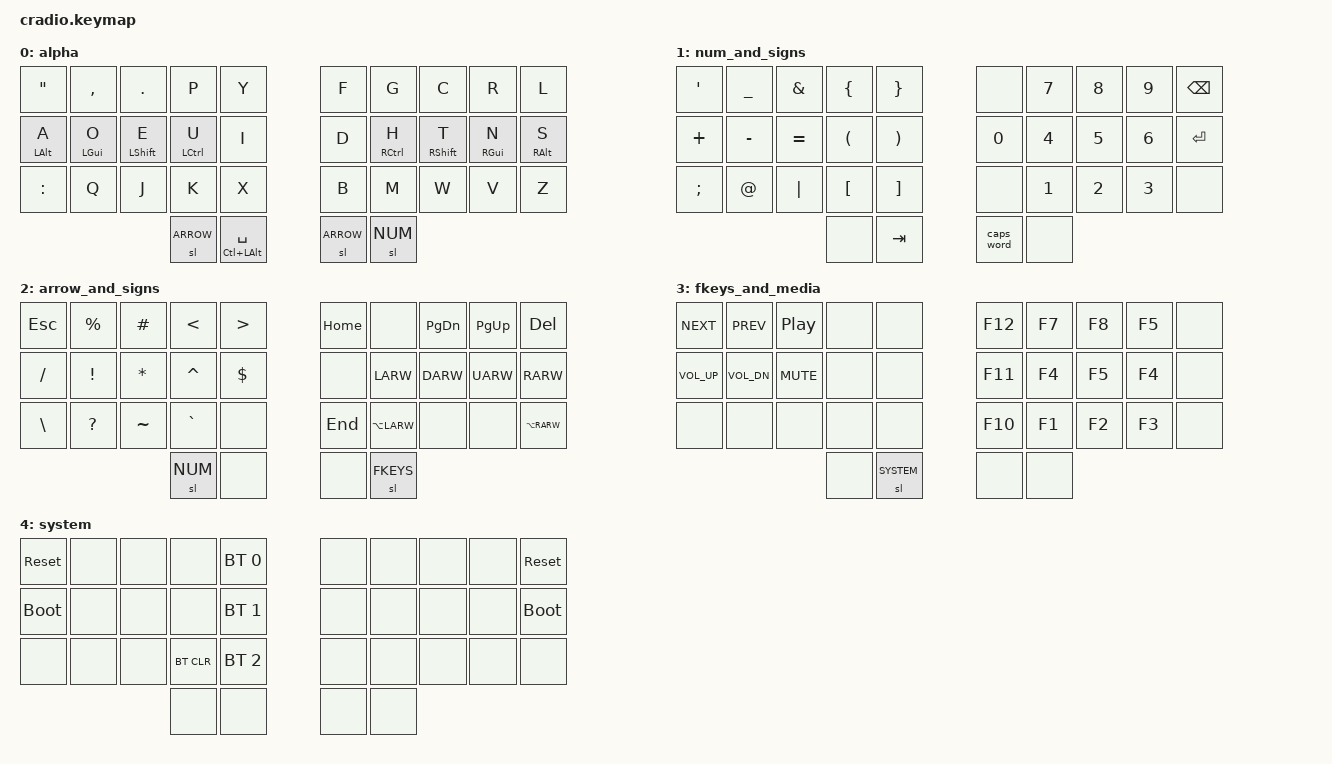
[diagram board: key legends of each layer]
#include <behaviors.dtsi>
#include <dt-bindings/zmk/keys.h>
#include <dt-bindings/zmk/bt.h>

#define ALPHA   0
#define NUM     1
#define ARROW   2
#define FKEYS   3 
#define SYSTEM  4 

&mt {
    // We use this for the MEH-key only.
    // Higher timeouts are required to prevent misfiring.
    tapping-term-ms = <230>;
    quick_tap_ms = <180>;
    global-quick-tap;
    flavor = "tap-preferred";
};

&sl {
    release-after-ms = <200>;
};

/ {
    behaviors {
        lm: home_row_left {
            compatible = "zmk,behavior-hold-tap";
            label = "home_row_left";
            #binding-cells = <2>;
            tapping-term-ms = <220>;
            quick_tap_ms = <180>;
            flavor = "balanced";
            bindings = <&kp>, <&kp>;
            hold-trigger-key-positions = <5 6 7 8 9 15 16 17 18 19 25 26 27 28 29 32 33>;
        };
        rm: home_row_right {
            compatible = "zmk,behavior-hold-tap";
            label = "home_row_right";
            #binding-cells = <2>;
            tapping-term-ms = <220>;
            quick_tap_ms = <180>;
            flavor = "balanced";
            bindings = <&kp>, <&kp>;
            hold-trigger-key-positions = <0 1 2 3 4 10 11 12 13 14 20 21 22 23 24 30 31>;
        };
    };

    keymap {
        compatible = "zmk,keymap";

        alpha {
        bindings = <

        &kp DQT       &kp COMMA   &kp DOT       &kp P        &kp Y      &kp F  &kp G        &kp C         &kp R       &kp L
        &lm LALT A    &lm LGUI O  &lm LSHIFT E  &lm LCTRL U  &kp I      &kp D  &rm RCTRL H  &rm RSHIFT T  &rm RGUI N  &rm RALT S 
        &kp COLON     &kp Q       &kp J         &kp K        &kp X      &kp B  &kp M        &kp W         &kp V       &kp Z

                                 &sl ARROW  &mt LC(LALT)     SPACE      &sl ARROW  &sl NUM

        >;
        };

        num_and_signs {
        bindings = <

        &kp SQT   &kp UNDER  &kp AMPS   &kp LBRC  &kp RBRC     &none   &kp N7  &kp N8  &kp N9  &kp BKSP
        &kp PLUS  &kp MINUS  &kp EQUAL  &kp LPAR  &kp RPAR     &kp N0  &kp N4  &kp N5  &kp N6  &kp ENTER
        &kp SEMI  &kp AT     &kp PIPE   &kp LBKT  &kp RBKT     &none   &kp N1  &kp N2  &kp N3  &none

                                            &none  &kp TAB     &caps_word  &none
        >;
        };

        arrow_and_signs {
        bindings = <

        &kp ESC    &kp PRCNT  &kp HASH   &kp LT     &kp GT       &kp HOME  &none         &kp PG_DN  &kp PG_UP  &kp DEL
        &kp SLASH  &kp EXCL   &kp ASTRK  &kp CARET  &kp DLLR     &none     &kp LARW      &kp DARW   &kp UARW   &kp RARW  
        &kp BSLH   &kp QMARK  &kp TILDE  &kp GRAVE  &none        &kp END   &kp LA(LARW)  &none      &none      &kp LA(RARW)    

                                               &sl NUM  &none    &none     &sl FKEYS
        >;
        };

        // The switch to the SYSTEM layer is put on the second thumb key on purpose
        // to prevent accidental system layer activations.
        fkeys_and_media {
        bindings = <

        &kp C_NEXT    &kp C_PREV    &kp C_PLAY_PAUSE  &none  &none      &kp F12  &kp F7  &kp F8  &kp F5  &none  
        &kp C_VOL_UP  &kp C_VOL_DN  &kp K_MUTE        &none  &none      &kp F11  &kp F4  &kp F5  &kp F4  &none  
        &none         &none         &none             &none  &none      &kp F10  &kp F1  &kp F2  &kp F3  &none  

                                                 &none  &sl SYSTEM      &none  &none
        >;
        };

        system {
        bindings = <

        &sys_reset   &none  &none  &none       &bt BT_SEL 0    &none  &none  &none  &none  &sys_reset
        &bootloader  &none  &none  &none       &bt BT_SEL 1    &none  &none  &none  &none  &bootloader
        &none        &none  &none  &bt BT_CLR  &bt BT_SEL 2    &none  &none  &none  &none  &none

                                               &none  &none    &none  &none
        >;
        };
    };
};
